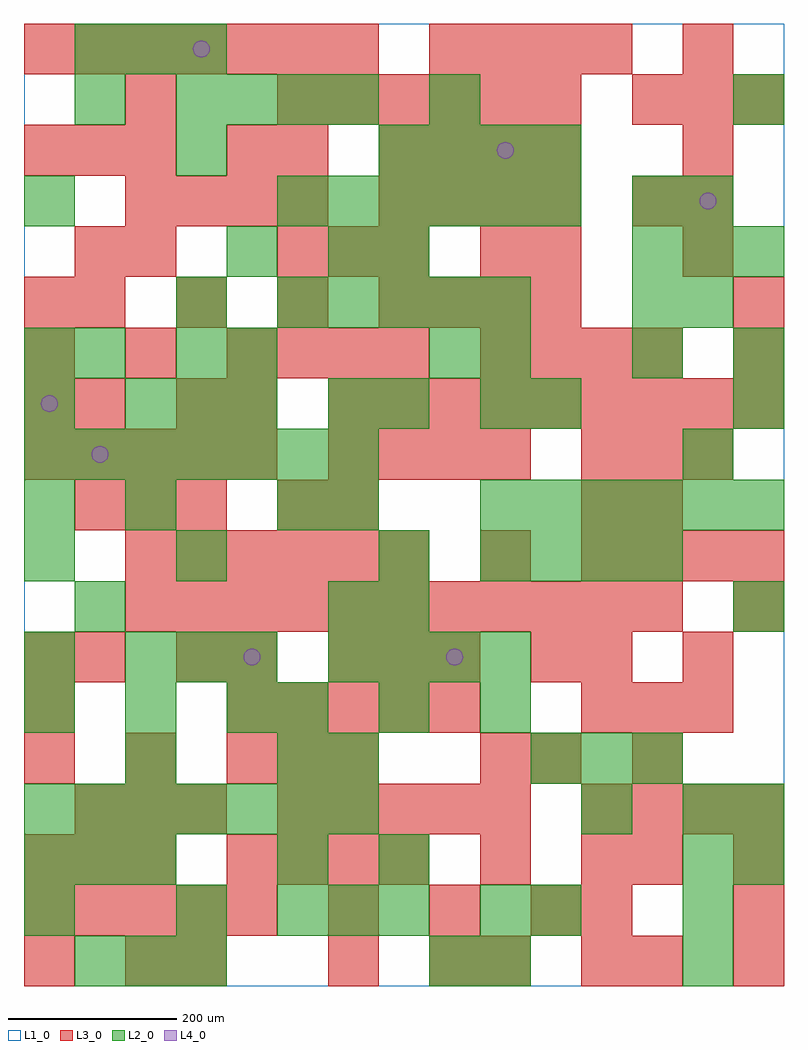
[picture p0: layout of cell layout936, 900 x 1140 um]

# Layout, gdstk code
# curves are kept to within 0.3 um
import gdstk
lib = gdstk.Library(unit=1e-6, precision=1e-09)
def R(c, l, rs):  # rectangles x0, y0, x1, y1
    for r in rs: c.add(gdstk.rectangle(r[:2], r[2:], *l))
def A(c, l, x, y, w, h, nx, ny, dx, dy):  # array of equal rectangles
    R(c, l, [(x+i*dx, y+j*dy, x+i*dx+w, y+j*dy+h) for i in range(nx) for j in range(ny)])
def P(c, l, *ps):  # polygons
    for p in ps: c.add(gdstk.Polygon(p, *l))
L1_0 = (1, 0)
L2_0 = (2, 0)
L3_0 = (3, 0)
L4_0 = (4, 0)

layout936 = lib.new_cell('layout936')
R(layout936, L1_0, [(0,0,900,1140)])
A(layout936, L2_0, 60, 0, 60, 60, 3, 2, 60, 1080)
A(layout936, L2_0, 780, 0, 60, 60, 1, 4, 0, 60)
A(layout936, L2_0, 300, 60, 60, 60, 3, 1, 60, 0)
A(layout936, L2_0, 0, 120, 60, 60, 3, 1, 60, 0)
A(layout936, L2_0, 0, 180, 60, 60, 7, 2, 60, 420)
A(layout936, L2_0, 840, 180, 60, 60, 1, 3, 0, 240)
A(layout936, L2_0, 600, 240, 60, 60, 3, 1, 60, 0)
A(layout936, L2_0, 0, 300, 60, 60, 3, 1, 120, 0)
A(layout936, L2_0, 300, 300, 60, 60, 3, 1, 120, 0)
A(layout936, L2_0, 120, 360, 60, 60, 3, 2, 60, 300)
A(layout936, L2_0, 360, 360, 60, 60, 4, 1, 60, 0)
A(layout936, L2_0, 60, 420, 60, 60, 1, 3, 0, 300)
A(layout936, L2_0, 360, 420, 60, 60, 1, 3, 0, 120)
A(layout936, L2_0, 420, 480, 60, 60, 1, 3, 0, 180)
A(layout936, L2_0, 540, 480, 60, 60, 4, 1, 60, 0)
A(layout936, L2_0, 540, 540, 60, 60, 6, 1, 60, 0)
A(layout936, L2_0, 300, 780, 60, 60, 5, 1, 60, 0)
A(layout936, L2_0, 720, 840, 60, 60, 3, 1, 60, 0)
A(layout936, L2_0, 300, 900, 60, 60, 6, 1, 60, 0)
A(layout936, L2_0, 420, 960, 60, 60, 4, 1, 60, 0)
A(layout936, L2_0, 180, 1020, 60, 60, 4, 1, 60, 0)
R(layout936, L2_0, [(480,0,540,60), (540,0,600,60), (0,60,60,120), (180,60,240,120), (540,60,600,120), (600,60,660,120), (300,120,360,180), (420,120,480,180), (840,120,900,180), (660,180,720,240), (120,240,180,300), (300,240,360,300), (360,240,420,300), (0,360,60,420), (420,420,480,480), (0,480,60,540), (180,480,240,540), (0,540,60,600), (120,540,180,600), (300,540,360,600), (780,600,840,660), (0,660,60,720), (540,660,600,720), (600,660,660,720), (0,720,60,780), (180,720,240,780), (240,720,300,780), (480,720,540,780), (540,720,600,780), (720,720,780,780), (840,720,900,780), (180,780,240,840), (720,780,780,840), (780,780,840,840), (240,840,300,900), (360,840,420,900), (0,900,60,960), (720,900,780,960), (780,900,840,960), (180,960,240,1020), (480,1020,540,1080), (840,1020,900,1080)])
A(layout936, L3_0, 540, 0, 60, 60, 1, 3, 0, 120)
A(layout936, L3_0, 660, 0, 60, 60, 1, 3, 0, 60)
A(layout936, L3_0, 720, 0, 60, 60, 1, 3, 0, 120)
A(layout936, L3_0, 840, 0, 60, 60, 1, 3, 0, 60)
A(layout936, L3_0, 0, 60, 60, 60, 5, 2, 60, 540)
A(layout936, L3_0, 360, 60, 60, 60, 3, 1, 120, 0)
A(layout936, L3_0, 0, 120, 60, 60, 3, 2, 60, 840)
A(layout936, L3_0, 240, 120, 60, 60, 4, 1, 60, 0)
A(layout936, L3_0, 60, 180, 60, 60, 3, 2, 60, 360)
A(layout936, L3_0, 300, 180, 60, 60, 5, 1, 60, 0)
A(layout936, L3_0, 660, 180, 60, 60, 4, 2, 60, 300)
A(layout936, L3_0, 0, 240, 60, 60, 3, 2, 120, 480)
A(layout936, L3_0, 240, 300, 60, 60, 5, 1, 60, 0)
A(layout936, L3_0, 660, 300, 60, 60, 3, 2, 60, 300)
A(layout936, L3_0, 240, 360, 60, 60, 1, 3, 0, 300)
A(layout936, L3_0, 360, 360, 60, 60, 3, 1, 60, 0)
A(layout936, L3_0, 120, 420, 60, 60, 11, 1, 60, 0)
A(layout936, L3_0, 120, 480, 60, 60, 6, 1, 60, 0)
A(layout936, L3_0, 360, 600, 60, 60, 4, 1, 60, 0)
A(layout936, L3_0, 360, 660, 60, 60, 9, 1, 60, 0)
A(layout936, L3_0, 300, 720, 60, 60, 3, 2, 60, 120)
A(layout936, L3_0, 540, 720, 60, 60, 4, 1, 60, 0)
A(layout936, L3_0, 60, 780, 60, 60, 4, 1, 120, 0)
A(layout936, L3_0, 480, 780, 60, 60, 3, 1, 60, 0)
A(layout936, L3_0, 780, 840, 60, 60, 1, 3, 0, 60)
A(layout936, L3_0, 120, 900, 60, 60, 4, 1, 60, 0)
A(layout936, L3_0, 420, 900, 60, 60, 4, 2, 60, 60)
A(layout936, L3_0, 300, 1020, 60, 60, 6, 1, 60, 0)
A(layout936, L3_0, 720, 1020, 60, 60, 3, 1, 60, 0)
A(layout936, L3_0, 0, 1080, 60, 60, 7, 1, 60, 0)
A(layout936, L3_0, 480, 1080, 60, 60, 4, 1, 60, 0)
R(layout936, L3_0, [(0,0,60,60), (120,0,180,60), (180,0,240,60), (360,0,420,60), (480,0,540,60), (300,240,360,300), (360,240,420,300), (600,240,660,300), (0,300,60,360), (0,360,60,420), (60,360,120,420), (180,360,240,420), (600,360,660,420), (660,360,720,420), (780,360,840,420), (840,420,900,480), (540,480,600,540), (300,540,360,600), (360,540,420,600), (660,540,720,600), (720,540,780,600), (0,660,60,720), (60,660,120,720), (180,660,240,720), (840,720,900,780), (0,780,60,840), (840,780,900,840), (60,840,120,900), (120,840,180,900), (540,840,600,900), (600,840,660,900), (720,900,780,960), (300,960,360,1020), (120,1020,180,1080), (780,1080,840,1140)])
P(layout936, L4_0, [(40,690),(39.239,693.827),(37.071,697.071),(33.827,699.239),(30,700),(26.173,699.239),(22.929,697.071),(20.761,693.827),(20,690),(20.761,686.173),(22.929,682.929),(26.173,680.761),(30,680),(33.827,680.761),(37.071,682.929),(39.239,686.173)],
  [(100,630),(99.239,633.827),(97.071,637.071),(93.827,639.239),(90,640),(86.173,639.239),(82.929,637.071),(80.761,633.827),(80,630),(80.761,626.173),(82.929,622.929),(86.173,620.761),(90,620),(93.827,620.761),(97.071,622.929),(99.239,626.173)],
  [(220,1110),(219.239,1113.827),(217.071,1117.071),(213.827,1119.239),(210,1120),(206.173,1119.239),(202.929,1117.071),(200.761,1113.827),(200,1110),(200.761,1106.173),(202.929,1102.929),(206.173,1100.761),(210,1100),(213.827,1100.761),(217.071,1102.929),(219.239,1106.173)],
  [(280,390),(279.239,393.827),(277.071,397.071),(273.827,399.239),(270,400),(266.173,399.239),(262.929,397.071),(260.761,393.827),(260,390),(260.761,386.173),(262.929,382.929),(266.173,380.761),(270,380),(273.827,380.761),(277.071,382.929),(279.239,386.173)],
  [(520,390),(519.239,393.827),(517.071,397.071),(513.827,399.239),(510,400),(506.173,399.239),(502.929,397.071),(500.761,393.827),(500,390),(500.761,386.173),(502.929,382.929),(506.173,380.761),(510,380),(513.827,380.761),(517.071,382.929),(519.239,386.173)],
  [(580,990),(579.239,993.827),(577.071,997.071),(573.827,999.239),(570,1000),(566.173,999.239),(562.929,997.071),(560.761,993.827),(560,990),(560.761,986.173),(562.929,982.929),(566.173,980.761),(570,980),(573.827,980.761),(577.071,982.929),(579.239,986.173)],
  [(820,930),(819.239,933.827),(817.071,937.071),(813.827,939.239),(810,940),(806.173,939.239),(802.929,937.071),(800.761,933.827),(800,930),(800.761,926.173),(802.929,922.929),(806.173,920.761),(810,920),(813.827,920.761),(817.071,922.929),(819.239,926.173)])

lib.write_gds('layout936.gds')
